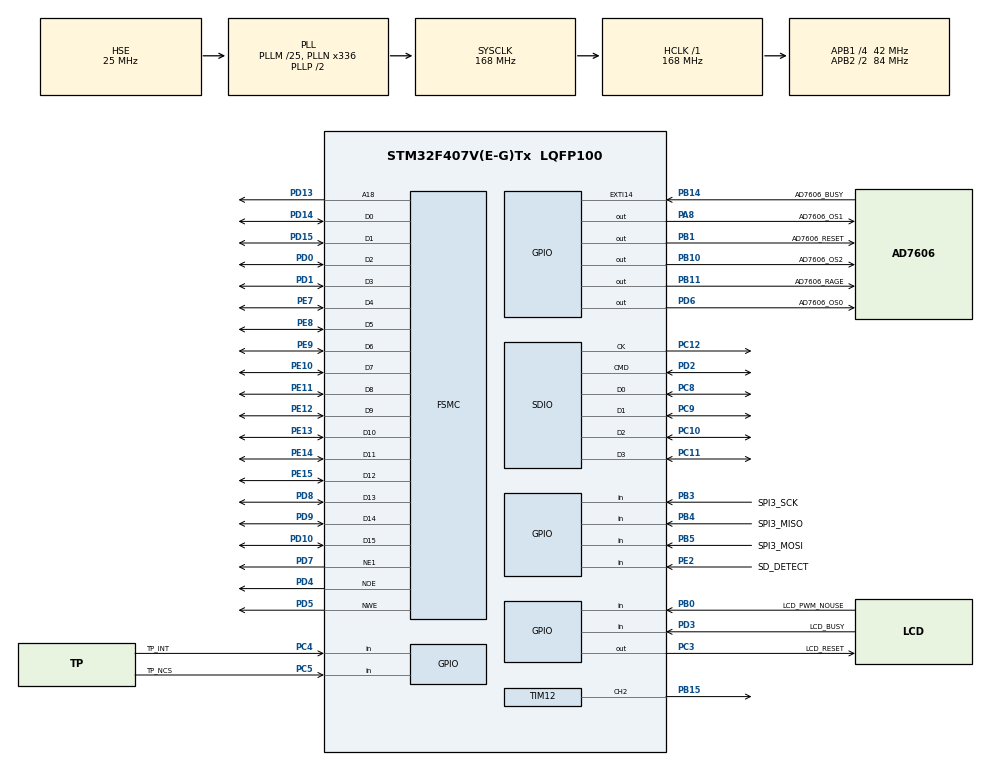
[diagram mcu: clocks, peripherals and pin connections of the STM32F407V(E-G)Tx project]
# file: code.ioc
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FATFS.BSP.number=1
FATFS._USE_LFN=2
FATFS0.BSP.STBoard=false
FATFS0.BSP.api=Unknown
FATFS0.BSP.instance=PE2
FATFS0.BSP.ip=GPIO
FATFS0.BSP.mode=Input
FATFS0.BSP.name=Detect_SDIO
FATFS0.BSP.solution=PE2
FREERTOS.Tasks01=defaultTask,24,128,StartDefaultTask,Default,NULL,Dynamic,NULL,NULL
Mcu.Family=STM32F4
Mcu.Name=STM32F407V(E-G)Tx
Mcu.Package=LQFP100
NVIC.EXTI15_10_IRQn=true\:15\:0\:true\:false\:true\:false\:true\:true\:true
NVIC.PriorityGroup=NVIC_PRIORITYGROUP_4
NVIC.TIM1_UP_TIM10_IRQn=true\:15\:0\:false\:false\:true\:false\:false\:true\:true
NVIC.TIM8_BRK_TIM12_IRQn=true\:5\:0\:false\:false\:true\:false\:true\:true\:true
NVIC.TimeBase=TIM1_UP_TIM10_IRQn
NVIC.TimeBaseIP=TIM1
PA8.GPIO_Label=AD7606_OS1
PA8.GPIO_PuPd=GPIO_PULLUP
PA8.PinState=GPIO_PIN_SET
PA8.Signal=GPIO_Output
PB0.GPIO_Label=LCD_PWM_NOUSE
PB0.Signal=GPIO_Input
PB1.GPIO_Label=AD7606_RESET
PB1.GPIO_PuPd=GPIO_PULLUP
PB1.PinState=GPIO_PIN_RESET
PB1.Signal=GPIO_Output
PB10.GPIO_Label=AD7606_OS2
PB10.GPIO_PuPd=GPIO_PULLUP
PB10.PinState=GPIO_PIN_SET
PB10.Signal=GPIO_Output
PB11.GPIO_Label=AD7606_RAGE
PB11.GPIO_PuPd=GPIO_PULLUP
PB11.PinState=GPIO_PIN_SET
PB11.Signal=GPIO_Output
PB14.GPIO_Label=AD7606_BUSY
PB14.GPIO_ModeDefaultEXTI=GPIO_MODE_IT_FALLING
PB14.GPIO_PuPd=GPIO_PULLUP
PB14.Signal=GPXTI14
PB15.Signal=S_TIM12_CH2
PB3.GPIO_Label=SPI3_SCK
PB3.GPIO_PuPd=GPIO_PULLUP
PB3.Signal=GPIO_Input
PB4.GPIO_Label=SPI3_MISO
PB4.GPIO_PuPd=GPIO_PULLUP
PB4.Signal=GPIO_Input
PB5.GPIO_Label=SPI3_MOSI
PB5.GPIO_PuPd=GPIO_PULLUP
PB5.Signal=GPIO_Input
PC10.Mode=SD_4_bits_Wide_bus
PC10.Signal=SDIO_D2
PC11.Mode=SD_4_bits_Wide_bus
PC11.Signal=SDIO_D3
PC12.Mode=SD_4_bits_Wide_bus
PC12.Signal=SDIO_CK
PC3.GPIO_Label=LCD_RESET
PC3.GPIO_ModeDefaultOutputPP=GPIO_MODE_OUTPUT_PP
PC3.GPIO_PuPd=GPIO_PULLUP
PC3.Signal=GPIO_Output
PC4.GPIO_Label=TP_INT
PC4.GPIO_PuPd=GPIO_PULLUP
PC4.Signal=GPIO_Input
PC5.GPIO_Label=TP_NCS
PC5.Signal=GPIO_Input
PC8.Mode=SD_4_bits_Wide_bus
PC8.Signal=SDIO_D0
PC9.Mode=SD_4_bits_Wide_bus
PC9.Signal=SDIO_D1
PD0.Mode=16b-d1
PD0.Signal=FSMC_D2
PD1.Mode=16b-d1
PD1.Signal=FSMC_D3
PD10.Mode=16b-d1
PD10.Signal=FSMC_D15
PD13.Mode=A18_1
PD13.Signal=FSMC_A18
PD14.Mode=16b-d1
PD14.Signal=FSMC_D0
PD15.Mode=16b-d1
PD15.Signal=FSMC_D1
PD2.Mode=SD_4_bits_Wide_bus
PD2.Signal=SDIO_CMD
PD3.GPIO_Label=LCD_BUSY
PD3.GPIO_PuPd=GPIO_PULLUP
PD3.Signal=GPIO_Input
PD4.Mode=Lcd1
PD4.Signal=FSMC_NOE
PD5.Mode=Lcd1
PD5.Signal=FSMC_NWE
PD6.GPIO_Label=AD7606_OS0
PD6.GPIO_PuPd=GPIO_PULLUP
PD6.PinState=GPIO_PIN_SET
PD6.Signal=GPIO_Output
PD7.Mode=NorPsramChipSelect1_1
PD7.Signal=FSMC_NE1
PD8.Mode=16b-d1
PD8.Signal=FSMC_D13
PD9.Mode=16b-d1
PD9.Signal=FSMC_D14
PE10.Mode=16b-d1
PE10.Signal=FSMC_D7
PE11.Mode=16b-d1
PE11.Signal=FSMC_D8
PE12.Mode=16b-d1
PE12.Signal=FSMC_D9
PE13.Mode=16b-d1
PE13.Signal=FSMC_D10
PE14.Mode=16b-d1
PE14.Signal=FSMC_D11
PE15.Mode=16b-d1
PE15.Signal=FSMC_D12
PE2.GPIO_Label=SD_DETECT
PE2.Signal=GPIO_Input
PE4.Signal=FSMC_A20
PE5.Signal=FSMC_A21
PE7.Mode=16b-d1
PE7.Signal=FSMC_D4
PE8.Mode=16b-d1
PE8.Signal=FSMC_D5
PE9.Mode=16b-d1
PE9.Signal=FSMC_D6
PH0-OSC_IN.Mode=HSE-External-Oscillator
PH0-OSC_IN.Signal=RCC_OSC_IN
PH1-OSC_OUT.Mode=HSE-External-Oscillator
PH1-OSC_OUT.Signal=RCC_OSC_OUT
ProjectManager.HeapSize=0x200
ProjectManager.StackSize=0x400
ProjectManager.TargetToolchain=STM32CubeIDE
RCC.48MHZClocksFreq_Value=48000000
RCC.AHBFreq_Value=168000000
RCC.APB1CLKDivider=RCC_HCLK_DIV4
RCC.APB1Freq_Value=42000000
RCC.APB1TimFreq_Value=84000000
RCC.APB2CLKDivider=RCC_HCLK_DIV2
RCC.APB2Freq_Value=84000000
RCC.APB2TimFreq_Value=168000000
RCC.CortexFreq_Value=168000000
RCC.EnbaleCSS=true
RCC.HCLKFreq_Value=168000000
RCC.HSE_VALUE=25000000
RCC.HSI_VALUE=16000000
RCC.LSE_VALUE=32768
RCC.PLLM=25
RCC.PLLN=336
RCC.PLLQ=7
RCC.PLLSourceVirtual=RCC_PLLSOURCE_HSE
RCC.SYSCLKFreq_VALUE=168000000
RCC.SYSCLKSource=RCC_SYSCLKSOURCE_PLLCLK
RCC.VCOOutputFreq_Value=336000000
SH.S_TIM12_CH2.0=TIM12_CH2,PWM Generation2 CH2
TIM12.AutoReloadPreload=TIM_AUTORELOAD_PRELOAD_ENABLE
TIM12.Channel-PWM\ Generation2\ CH2=TIM_CHANNEL_2
TIM12.Period=1000
TIM12.Prescaler=84
TIM12.Pulse-PWM\ Generation2\ CH2=50
VP_FATFS_VS_SDIO.Mode=SDIO
VP_FREERTOS_VS_CMSIS_V2.Mode=CMSIS_V2
VP_SYS_VS_tim1.Mode=TIM1
board=custom

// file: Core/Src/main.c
/* USER CODE BEGIN Header */
/**
  ******************************************************************************
  * @file           : main.c
  * @brief          : Main program body
  ******************************************************************************
  * @attention
  *
  * Copyright (c) 2026 STMicroelectronics.
  * All rights reserved.
  *
  * This software is licensed under terms that can be found in the LICENSE file
  * in the root directory of this software component.
  * If no LICENSE file comes with this software, it is provided AS-IS.
  *
  ******************************************************************************
  */
/* USER CODE END Header */
#include "main.h"
#include "cmsis_os.h"
#include "fatfs.h"

/* USER CODE BEGIN Includes */
#include "bsp_tft_lcd.h"
#include "bsp_ad7606.h"
#include "lvgl.h"
#include "FreeRTOS.h"
#include "task.h"
/* USER CODE END Includes */

SD_HandleTypeDef hsd;

TIM_HandleTypeDef htim12;

SRAM_HandleTypeDef hsram1;

/* Definitions for defaultTask */
osThreadId_t defaultTaskHandle;
const osThreadAttr_t defaultTask_attributes = {
  .name = "defaultTask",
  .stack_size = 128 * 4,
  .priority = (osPriority_t) osPriorityNormal,
};
/* USER CODE BEGIN PV */
static StackType_t guiTaskStack[4096];
static StaticTask_t guiTaskTCB;
/* USER CODE END PV */

void SystemClock_Config(void);
static void MX_GPIO_Init(void);
static void MX_FSMC_Init(void);
static void MX_TIM12_Init(void);
static void MX_SDIO_SD_Init(void);
void StartDefaultTask(void *argument);

/* USER CODE BEGIN PFP */
void StartGUITask(void *argument);  /* freertos.c 中定义 */
/* USER CODE END PFP */

int main(void)
{

  /* MCU Configuration--------------------------------------------------------*/

  /* Reset of all peripherals, Initializes the Flash interface and the Systick. */
  HAL_Init();

  /* Configure the system clock */
  SystemClock_Config();

  /* Initialize all configured peripherals */
  MX_GPIO_Init();
  MX_FSMC_Init();
  MX_TIM12_Init();
  MX_SDIO_SD_Init();
  MX_FATFS_Init();
  /* USER CODE BEGIN 2 */
  LCD_InitHard();
  bsp_InitAD7606();

  /* lv_init / DISP 驱动注册在 StartGUITask 中执行（main 栈仅 1KB） */
  /* USER CODE END 2 */

  /* Init scheduler */
  osKernelInitialize();

  /* Create the thread(s) */
  /* creation of defaultTask */
  defaultTaskHandle = osThreadNew(StartDefaultTask, NULL, &defaultTask_attributes);

  /* USER CODE BEGIN RTOS_THREADS */
  static const osThreadAttr_t guiTask_attributes = {
    .name = "guiTask",
    .stack_mem = guiTaskStack,
    .stack_size = sizeof(guiTaskStack),
    .cb_mem = &guiTaskTCB,
    .cb_size = sizeof(guiTaskTCB),
    .priority = (osPriority_t) osPriorityAboveNormal,
  };
  if (osThreadNew(StartGUITask, NULL, &guiTask_attributes) == NULL) {
    Error_Handler();
  }
  /* USER CODE END RTOS_THREADS */

  /* Start scheduler */
  osKernelStart();

  /* We should never get here as control is now taken by the scheduler */

  /* Infinite loop */
  while (1)
  {

  }
}

void SystemClock_Config(void)
{
  RCC_OscInitTypeDef RCC_OscInitStruct = {0};
  RCC_ClkInitTypeDef RCC_ClkInitStruct = {0};

  /** Configure the main internal regulator output voltage
  */
  __HAL_RCC_PWR_CLK_ENABLE();
  __HAL_PWR_VOLTAGESCALING_CONFIG(PWR_REGULATOR_VOLTAGE_SCALE1);

  /** Initializes the RCC Oscillators according to the specified parameters
  * in the RCC_OscInitTypeDef structure.
  */
  RCC_OscInitStruct.OscillatorType = RCC_OSCILLATORTYPE_HSE;
  RCC_OscInitStruct.HSEState = RCC_HSE_ON;
  RCC_OscInitStruct.PLL.PLLState = RCC_PLL_ON;
  RCC_OscInitStruct.PLL.PLLSource = RCC_PLLSOURCE_HSE;
  RCC_OscInitStruct.PLL.PLLM = 25;
  RCC_OscInitStruct.PLL.PLLN = 336;
  RCC_OscInitStruct.PLL.PLLP = RCC_PLLP_DIV2;
  RCC_OscInitStruct.PLL.PLLQ = 7;
  if (HAL_RCC_OscConfig(&RCC_OscInitStruct) != HAL_OK)
  {
    Error_Handler();
  }

  /** Initializes the CPU, AHB and APB buses clocks
  */
  RCC_ClkInitStruct.ClockType = RCC_CLOCKTYPE_HCLK|RCC_CLOCKTYPE_SYSCLK
                              |RCC_CLOCKTYPE_PCLK1|RCC_CLOCKTYPE_PCLK2;
  RCC_ClkInitStruct.SYSCLKSource = RCC_SYSCLKSOURCE_PLLCLK;
  RCC_ClkInitStruct.AHBCLKDivider = RCC_SYSCLK_DIV1;
  RCC_ClkInitStruct.APB1CLKDivider = RCC_HCLK_DIV4;
  RCC_ClkInitStruct.APB2CLKDivider = RCC_HCLK_DIV2;

  if (HAL_RCC_ClockConfig(&RCC_ClkInitStruct, FLASH_LATENCY_5) != HAL_OK)
  {
    Error_Handler();
  }

  /** Enables the Clock Security System
  */
  HAL_RCC_EnableCSS();
}

static void MX_SDIO_SD_Init(void)
{

  hsd.Instance = SDIO;
  hsd.Init.ClockEdge = SDIO_CLOCK_EDGE_RISING;
  hsd.Init.ClockBypass = SDIO_CLOCK_BYPASS_DISABLE;
  hsd.Init.ClockPowerSave = SDIO_CLOCK_POWER_SAVE_DISABLE;
  hsd.Init.BusWide = SDIO_BUS_WIDE_1B;
  hsd.Init.HardwareFlowControl = SDIO_HARDWARE_FLOW_CONTROL_DISABLE;
  hsd.Init.ClockDiv = 0;

}

static void MX_TIM12_Init(void)
{

  TIM_OC_InitTypeDef sConfigOC = {0};

  htim12.Instance = TIM12;
  htim12.Init.Prescaler = 84;
  htim12.Init.CounterMode = TIM_COUNTERMODE_UP;
  htim12.Init.Period = 1000;
  htim12.Init.ClockDivision = TIM_CLOCKDIVISION_DIV1;
  htim12.Init.AutoReloadPreload = TIM_AUTORELOAD_PRELOAD_ENABLE;
  if (HAL_TIM_PWM_Init(&htim12) != HAL_OK)
  {
    Error_Handler();
  }
  sConfigOC.OCMode = TIM_OCMODE_PWM1;
  sConfigOC.Pulse = 50;
  sConfigOC.OCPolarity = TIM_OCPOLARITY_HIGH;
  sConfigOC.OCFastMode = TIM_OCFAST_DISABLE;
  if (HAL_TIM_PWM_ConfigChannel(&htim12, &sConfigOC, TIM_CHANNEL_2) != HAL_OK)
  {
    Error_Handler();
  }
  HAL_TIM_MspPostInit(&htim12);

}

static void MX_GPIO_Init(void)
{
  GPIO_InitTypeDef GPIO_InitStruct = {0};

  /* GPIO Ports Clock Enable */
  __HAL_RCC_GPIOE_CLK_ENABLE();
  __HAL_RCC_GPIOH_CLK_ENABLE();
  __HAL_RCC_GPIOC_CLK_ENABLE();
  __HAL_RCC_GPIOB_CLK_ENABLE();
  __HAL_RCC_GPIOD_CLK_ENABLE();
  __HAL_RCC_GPIOA_CLK_ENABLE();

  /*Configure GPIO pin Output Level */
  HAL_GPIO_WritePin(LCD_RESET_GPIO_Port, LCD_RESET_Pin, GPIO_PIN_RESET);

  /*Configure GPIO pin Output Level */
  HAL_GPIO_WritePin(AD7606_RESET_GPIO_Port, AD7606_RESET_Pin, GPIO_PIN_RESET);

  /*Configure GPIO pin Output Level */
  HAL_GPIO_WritePin(GPIOB, AD7606_OS2_Pin|AD7606_RAGE_Pin, GPIO_PIN_SET);

  /*Configure GPIO pin Output Level */
  HAL_GPIO_WritePin(AD7606_OS1_GPIO_Port, AD7606_OS1_Pin, GPIO_PIN_SET);

  /*Configure GPIO pin Output Level */
  HAL_GPIO_WritePin(AD7606_OS0_GPIO_Port, AD7606_OS0_Pin, GPIO_PIN_SET);

  /*Configure GPIO pin : SD_DETECT_Pin */
  GPIO_InitStruct.Pin = SD_DETECT_Pin;
  GPIO_InitStruct.Mode = GPIO_MODE_INPUT;
  GPIO_InitStruct.Pull = GPIO_NOPULL;
  HAL_GPIO_Init(SD_DETECT_GPIO_Port, &GPIO_InitStruct);

  /*Configure GPIO pin : LCD_RESET_Pin */
  GPIO_InitStruct.Pin = LCD_RESET_Pin;
  GPIO_InitStruct.Mode = GPIO_MODE_OUTPUT_PP;
  GPIO_InitStruct.Pull = GPIO_PULLUP;
  GPIO_InitStruct.Speed = GPIO_SPEED_FREQ_LOW;
  HAL_GPIO_Init(LCD_RESET_GPIO_Port, &GPIO_InitStruct);

  /*Configure GPIO pin : TP_INT_Pin */
  GPIO_InitStruct.Pin = TP_INT_Pin;
  GPIO_InitStruct.Mode = GPIO_MODE_INPUT;
  GPIO_InitStruct.Pull = GPIO_PULLUP;
  HAL_GPIO_Init(TP_INT_GPIO_Port, &GPIO_InitStruct);

  /*Configure GPIO pin : TP_NCS_Pin */
  GPIO_InitStruct.Pin = TP_NCS_Pin;
  GPIO_InitStruct.Mode = GPIO_MODE_INPUT;
  GPIO_InitStruct.Pull = GPIO_NOPULL;
  HAL_GPIO_Init(TP_NCS_GPIO_Port, &GPIO_InitStruct);

  /*Configure GPIO pin : LCD_PWM_NOUSE_Pin */
  GPIO_InitStruct.Pin = LCD_PWM_NOUSE_Pin;
  GPIO_InitStruct.Mode = GPIO_MODE_INPUT;
  GPIO_InitStruct.Pull = GPIO_NOPULL;
  HAL_GPIO_Init(LCD_PWM_NOUSE_GPIO_Port, &GPIO_InitStruct);

  /*Configure GPIO pins : AD7606_RESET_Pin AD7606_OS2_Pin AD7606_RAGE_Pin */
  GPIO_InitStruct.Pin = AD7606_RESET_Pin|AD7606_OS2_Pin|AD7606_RAGE_Pin;
  GPIO_InitStruct.Mode = GPIO_MODE_OUTPUT_PP;
  GPIO_InitStruct.Pull = GPIO_PULLUP;
  GPIO_InitStruct.Speed = GPIO_SPEED_FREQ_LOW;
  HAL_GPIO_Init(GPIOB, &GPIO_InitStruct);

  /*Configure GPIO pin : AD7606_BUSY_Pin */
  GPIO_InitStruct.Pin = AD7606_BUSY_Pin;
  GPIO_InitStruct.Mode = GPIO_MODE_IT_FALLING;
  GPIO_InitStruct.Pull = GPIO_PULLUP;
  HAL_GPIO_Init(AD7606_BUSY_GPIO_Port, &GPIO_InitStruct);

  /*Configure GPIO pin : AD7606_OS1_Pin */
  GPIO_InitStruct.Pin = AD7606_OS1_Pin;
  GPIO_InitStruct.Mode = GPIO_MODE_OUTPUT_PP;
  GPIO_InitStruct.Pull = GPIO_PULLUP;
  GPIO_InitStruct.Speed = GPIO_SPEED_FREQ_LOW;
  HAL_GPIO_Init(AD7606_OS1_GPIO_Port, &GPIO_InitStruct);

  /*Configure GPIO pin : LCD_BUSY_Pin */
  GPIO_InitStruct.Pin = LCD_BUSY_Pin;
  GPIO_InitStruct.Mode = GPIO_MODE_INPUT;
  GPIO_InitStruct.Pull = GPIO_PULLUP;
  HAL_GPIO_Init(LCD_BUSY_GPIO_Port, &GPIO_InitStruct);

  /*Configure GPIO pin : AD7606_OS0_Pin */
  GPIO_InitStruct.Pin = AD7606_OS0_Pin;
  GPIO_InitStruct.Mode = GPIO_MODE_OUTPUT_PP;
  GPIO_InitStruct.Pull = GPIO_PULLUP;
  GPIO_InitStruct.Speed = GPIO_SPEED_FREQ_LOW;
  HAL_GPIO_Init(AD7606_OS0_GPIO_Port, &GPIO_InitStruct);

  /*Configure GPIO pins : SPI3_SCK_Pin SPI3_MISO_Pin SPI3_MOSI_Pin */
  GPIO_InitStruct.Pin = SPI3_SCK_Pin|SPI3_MISO_Pin|SPI3_MOSI_Pin;
  GPIO_InitStruct.Mode = GPIO_MODE_INPUT;
  GPIO_InitStruct.Pull = GPIO_PULLUP;
  HAL_GPIO_Init(GPIOB, &GPIO_InitStruct);

  /* EXTI interrupt init*/
  HAL_NVIC_SetPriority(EXTI15_10_IRQn, 15, 0);
  HAL_NVIC_EnableIRQ(EXTI15_10_IRQn);

}

/* FSMC initialization function */
static void MX_FSMC_Init(void)
{

  FSMC_NORSRAM_TimingTypeDef Timing = {0};

  /** Perform the SRAM1 memory initialization sequence
  */
  hsram1.Instance = FSMC_NORSRAM_DEVICE;
  hsram1.Extended = FSMC_NORSRAM_EXTENDED_DEVICE;
  /* hsram1.Init */
  hsram1.Init.NSBank = FSMC_NORSRAM_BANK1;
  hsram1.Init.DataAddressMux = FSMC_DATA_ADDRESS_MUX_DISABLE;
  hsram1.Init.MemoryType = FSMC_MEMORY_TYPE_SRAM;
  hsram1.Init.MemoryDataWidth = FSMC_NORSRAM_MEM_BUS_WIDTH_16;
  hsram1.Init.BurstAccessMode = FSMC_BURST_ACCESS_MODE_DISABLE;
  hsram1.Init.WaitSignalPolarity = FSMC_WAIT_SIGNAL_POLARITY_LOW;
  hsram1.Init.WrapMode = FSMC_WRAP_MODE_DISABLE;
  hsram1.Init.WaitSignalActive = FSMC_WAIT_TIMING_BEFORE_WS;
  hsram1.Init.WriteOperation = FSMC_WRITE_OPERATION_ENABLE;
  hsram1.Init.WaitSignal = FSMC_WAIT_SIGNAL_DISABLE;
  hsram1.Init.ExtendedMode = FSMC_EXTENDED_MODE_DISABLE;
  hsram1.Init.AsynchronousWait = FSMC_ASYNCHRONOUS_WAIT_DISABLE;
  hsram1.Init.WriteBurst = FSMC_WRITE_BURST_DISABLE;
  hsram1.Init.PageSize = FSMC_PAGE_SIZE_NONE;
  /* Timing */
  Timing.AddressSetupTime = 15;
  Timing.AddressHoldTime = 15;
  Timing.DataSetupTime = 255;
  Timing.BusTurnAroundDuration = 15;
  Timing.CLKDivision = 16;
  Timing.DataLatency = 17;
  Timing.AccessMode = FSMC_ACCESS_MODE_A;
  /* ExtTiming */

  if (HAL_SRAM_Init(&hsram1, &Timing, NULL) != HAL_OK)
  {
    Error_Handler( );
  }

}

void StartDefaultTask(void *argument)
{
  for(;;)
  {
    osDelay(1);
  }
}

void HAL_TIM_PeriodElapsedCallback(TIM_HandleTypeDef *htim)
{
  if (htim->Instance == TIM1)
  {
    HAL_IncTick();
    lv_tick_inc(1);  /* LVGL 时钟节拍 (TIM1 = 1ms) */
  }
}

void Error_Handler(void)
{
  __disable_irq();
  while (1)
  {
  }
}

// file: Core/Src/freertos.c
/* USER CODE BEGIN Header */

/**

  ******************************************************************************

  * File Name          : freertos.c

  * Description        : Code for freertos applications

  ******************************************************************************

  * @attention

  *

  * Copyright (c) 2026 STMicroelectronics.

  * All rights reserved.

  *

  * This software is licensed under terms that can be found in the LICENSE file

  * in the root directory of this software component.

  * If no LICENSE file comes with this software, it is provided AS-IS.

  *

  ******************************************************************************

  */

/* USER CODE END Header */

#include "FreeRTOS.h"

#include "task.h"

#include "main.h"

/* USER CODE BEGIN Includes */

#include "cmsis_os.h"

#include "gui_core.h"

#include "gui_calib.h"

#include "config.h"

#include "lvgl.h"

#include "disp_ra8875_lvgl.h"

#include "bsp_lcd_ra8875.h"

#include "bsp_tft_lcd.h"

#if !defined(PC_SIMULATOR)

#include "touch_bsp_calib.h"

#include "touch_bsp_test.h"

#include "touch_calib.h"

#endif

#include "storage/sd_fs.h"

/* USER CODE END Includes */

/* USER CODE BEGIN FunctionPrototypes */

void StartGUITask(void *argument);

#if !defined(PC_SIMULATOR)
static void gui_run_lvgl_app(void);
#endif

/* USER CODE END FunctionPrototypes */

/* USER CODE BEGIN Application */

/*
 * AcqTask 由 AcqTask_Init()（GUI_Init 内调用）创建，栈 2KB、优先级 Normal。
 * 采集循环见 user/app/src/acq_task.c。
 */

#if !defined(PC_SIMULATOR)

static void gui_run_lvgl_app(void)
{
  lv_init();
  DISP_RA8875_LVGL_Init();
  DISP_ResetTouchState();
  GUI_Init();
  lv_refr_now(NULL);

  for (;;) {
    GUI_TaskHandler();
    osDelay(5);
  }
}

#endif

/**

  * @brief  LVGL GUI 任务线程

  * @note   lv_init / 显示驱动 / GUI_Init 均在此任务内执行（main 栈仅 1KB）。

  * @param  argument: 未使用

  */

void StartGUITask(void *argument)

{

  (void)argument;

#if defined(__GNUC__)

  /* CCMRAM NOLOAD 段：启动文件不清零，须在 lv_init 前清零 */

  {

    extern uint32_t _sccmram;

    extern uint32_t _eccmram;

    uint32_t *p = (uint32_t *)&_sccmram;

    uint32_t *end = (uint32_t *)&_eccmram;

    while (p < end) {

      *p++ = 0U;

    }

  }

#endif

  /* SD 工具层：无卡时返回 false，不阻塞 GUI */

  (void)SdFs_Init();

#if GUI_TOUCH_BSP_TEST_MODE

  RA8875_TouchInit();

  TouchCalib_Init();

  TouchBspTest_Run();

  for (;;) {

    osDelay(1000);

  }

#elif GUI_TOUCH_CALIB_MODE

  RA8875_TouchInit();

  TouchCalib_Init();

#if !defined(PC_SIMULATOR)

  if (!TouchCalib_IsValid()) {

    (void)TouchBspCalib_Do();

  }

  gui_run_lvgl_app();

#endif

  for (;;) {

    osDelay(1000);

  }

#else

#if !defined(PC_SIMULATOR)

  TouchCalib_Init();

  if (!TouchCalib_IsValid()) {

    RA8875_TouchInit();

    (void)TouchBspCalib_Do();

  }

#endif

  gui_run_lvgl_app();

#endif /* GUI_TOUCH_BSP_TEST_MODE || GUI_TOUCH_CALIB_MODE */

}

/* USER CODE END Application */
